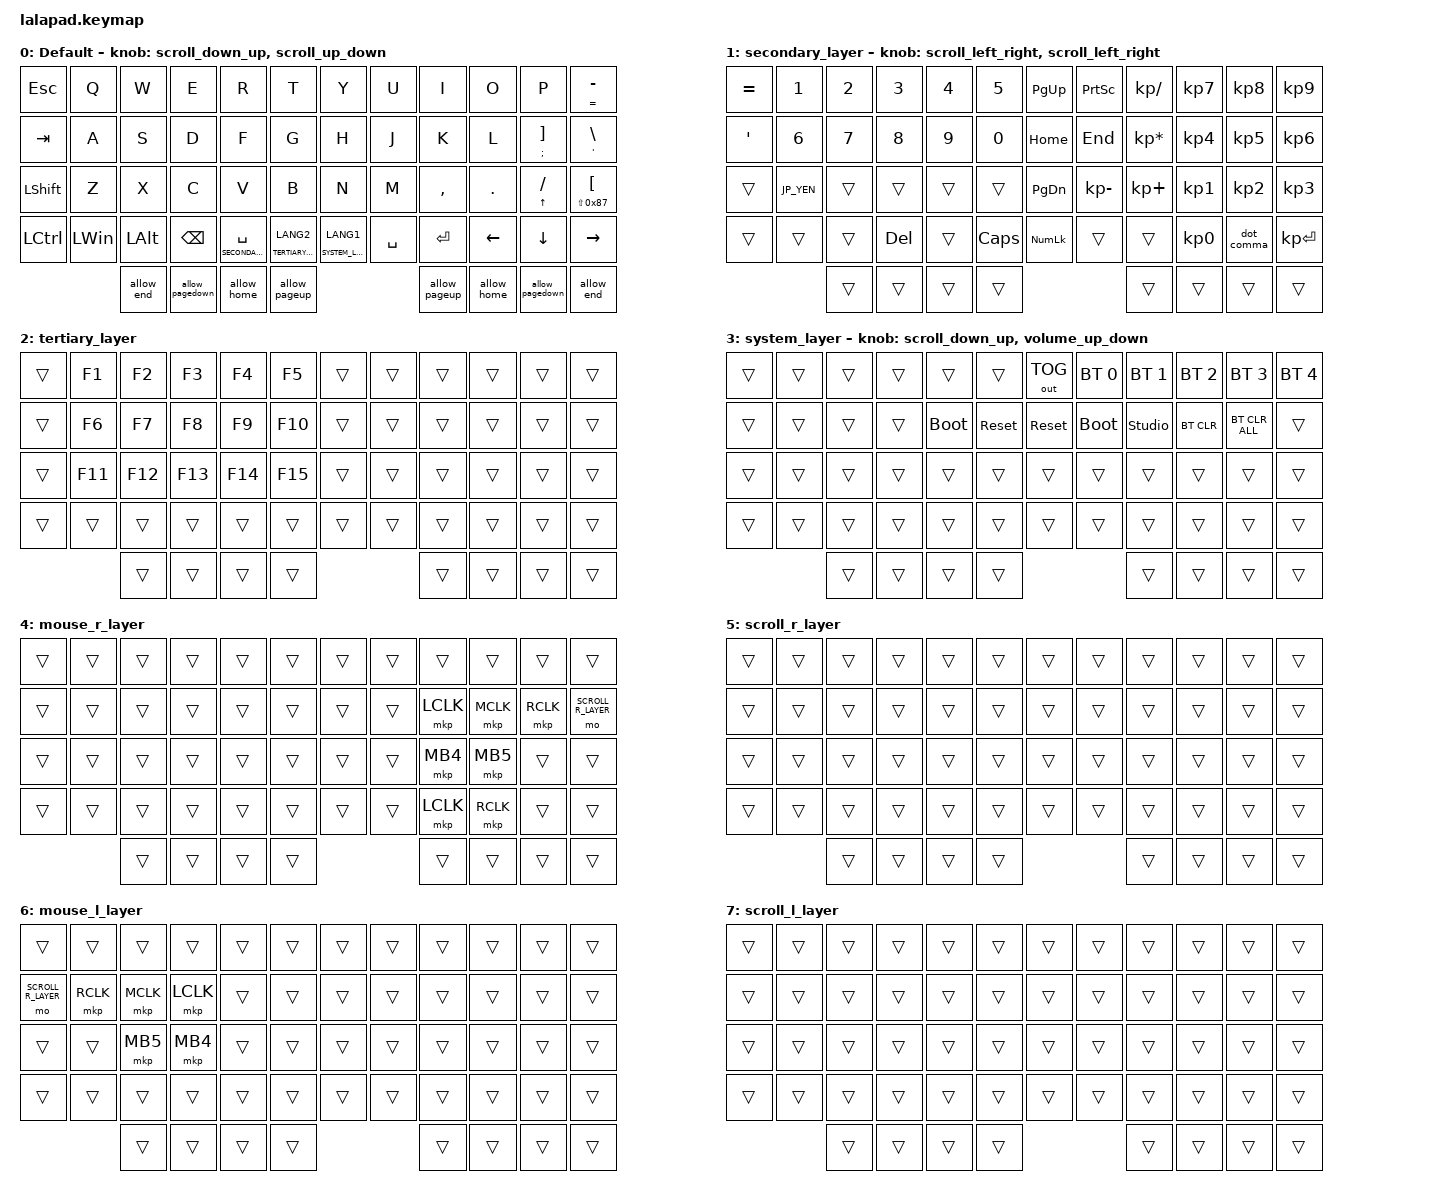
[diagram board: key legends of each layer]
#include <input/processors.dtsi>
#include <behaviors.dtsi>
#include <dt-bindings/zmk/bt.h>
#include <dt-bindings/zmk/keys.h>
#include <dt-bindings/zmk/outputs.h>
#include <dt-bindings/zmk/pointing.h>

#define DEFAULT_LAYER   0
#define SECONDARY_LAYER 1
#define TERTIARY_LAYER  2
#define SYSTEM_LAYER    3
#define MOUSE_R_LAYER   4
#define SCROLL_R_LAYER  5
#define MOUSE_L_LAYER   6
#define SCROLL_L_LAYER  7

// OS設定を日本語キーボードのまま使用するための変換定義
#define JP_DQUOTE       AT                // "
#define JP_AMPERSAND    CARET             // &
#define JP_QUOTE        AMPERSAND         // '
#define JP_EQUAL        UNDER             // =
#define JP_CARET        EQUAL             // ^
#define JP_YEN          0x89              // ¥
#define JP_PLUS         COLON             // +
#define JP_TILDE        PLUS              // ~
#define JP_PIPE         LS(0x89)          // |
#define JP_AT           LEFT_BRACKET      // @
#define JP_COLON        SINGLE_QUOTE      // :
#define JP_ASTERISK     DOUBLE_QUOTES     // *
#define JP_BACKQUOTE    LEFT_BRACE        // `
#define JP_UNDERSCORE   LS(0x87)          // _
#define JP_LBRACKET     RIGHT_BRACKET     // [
#define JP_RBRACKET     BACKSLASH         // ]
#define JP_LPAREN       ASTERISK          // (
#define JP_RPAREN       LEFT_PARENTHESIS  // )
#define JP_LBRACE       RIGHT_BRACE       // {
#define JP_RBRACE       PIPE              // }
#define JP_KANA         LANGUAGE_1        // かな
#define JP_EISU         LANGUAGE_2        // 英数
#define JP_HANZEN       GRAVE             // 半角/全角

// Mouse Scroll Value
#define ZMK_POINTING_DEFAULT_SCRL_VAL 100

// cirque trackpad input&layer control
&glidepoint_listener_R {
    input-processors =
        <&zip_xy_transform (INPUT_TRANSFORM_XY_SWAP | INPUT_TRANSFORM_X_INVERT | INPUT_TRANSFORM_Y_INVERT)>,
        <&zip_xy_scaler 3 2>,
        <&zip_temp_layer MOUSE_R_LAYER 500>;

    lowspeedmode {
        layers = <SECONDARY_LAYER>;
        input-processors =
            <&zip_xy_transform (INPUT_TRANSFORM_XY_SWAP | INPUT_TRANSFORM_X_INVERT | INPUT_TRANSFORM_Y_INVERT)>,
            <&zip_xy_scaler 3 5>,
            <&zip_temp_layer MOUSE_R_LAYER 500>;
    };

    scroller {
        layers = <SCROLL_R_LAYER>;
        input-processors =
            <&zip_xy_to_scroll_mapper>,
            <&zip_scroll_transform (INPUT_TRANSFORM_XY_SWAP | INPUT_TRANSFORM_Y_INVERT)>,
            <&zip_scroll_scaler 1 8>;
    };
};
&glidepoint_listener_L {
    input-processors =
        <&zip_xy_transform (INPUT_TRANSFORM_XY_SWAP | INPUT_TRANSFORM_X_INVERT | INPUT_TRANSFORM_Y_INVERT)>,
        <&zip_xy_scaler 3 2>,
        <&zip_temp_layer MOUSE_L_LAYER 500>;

    lowspeedmode {
        layers = <SECONDARY_LAYER>;
        input-processors =
            <&zip_xy_transform (INPUT_TRANSFORM_XY_SWAP | INPUT_TRANSFORM_X_INVERT | INPUT_TRANSFORM_Y_INVERT)>,
            <&zip_xy_scaler 3 4>,
            <&zip_temp_layer MOUSE_L_LAYER 500>;
    };

    scroller {
        layers = <SCROLL_L_LAYER>;
        input-processors =
            <&zip_xy_to_scroll_mapper>,
            <&zip_scroll_transform (INPUT_TRANSFORM_XY_SWAP | INPUT_TRANSFORM_Y_INVERT)>,
            <&zip_scroll_scaler 1 6>;
    };
};

/ {

    behaviors {
        // Encoder to Mouse Scroll
        scroll_up_down: sensor_scroll_up_down {
            compatible = "zmk,behavior-sensor-rotate";
            #sensor-binding-cells = <0>;
            bindings = <&msc SCRL_UP>, <&msc SCRL_DOWN>;

            tap-ms = <20>;
            label = "SCROLL_UP_DOWN";
        };

        scroll_down_up: sensor_scroll_down_up {
            compatible = "zmk,behavior-sensor-rotate";
            #sensor-binding-cells = <0>;
            bindings = <&msc SCRL_DOWN>, <&msc SCRL_UP>;

            tap-ms = <20>;
            label = "SCROLL_DOWN_UP";
        };

        scroll_left_right: sensor_scroll_left_right {
            compatible = "zmk,behavior-sensor-rotate";
            #sensor-binding-cells = <0>;
            bindings = <&msc SCRL_LEFT>, <&msc SCRL_RIGHT>;

            tap-ms = <20>;
            label = "SCROLL_LEFT_RIGHT";
        };

        scroll_right_left: sensor_scroll_right_left {
            compatible = "zmk,behavior-sensor-rotate";
            #sensor-binding-cells = <0>;
            bindings = <&msc SCRL_RIGHT>, <&msc SCRL_LEFT>;

            tap-ms = <20>;
            label = "SCROLL_RIGHT_LEFT";
        };

        volume_up_down: sensor_volume_up_down {
            compatible = "zmk,behavior-sensor-rotate";
            #sensor-binding-cells = <0>;
            bindings = <&kp C_VOLUME_UP>, <&kp C_VOLUME_DOWN>;

            tap-ms = <20>;
            label = "VOLUME_UP_DOWN";
        };

        dot_comma: dot_comma {
            compatible = "zmk,behavior-mod-morph";
            #binding-cells = <0>;
            bindings = <&kp KP_DOT>, <&kp COMMA>;

            mods = <(MOD_LSFT|MOD_RSFT)>;
            label = "DOT_COMMA";
        };
        pls_minus: pls_minus {
            compatible = "zmk,behavior-mod-morph";
            #binding-cells = <0>;
            bindings = <&kp PLUS>, <&kp MINUS>;

            mods = <(MOD_LSFT|MOD_RSFT)>;
            label = "PLS_MINUS";
        };
        allow_pageup: allow_pageup {
            compatible = "zmk,behavior-mod-morph";
            #binding-cells = <0>;
            bindings = <&kp UP>, <&kp PAGE_UP>;

            mods = <(MOD_LCTL|MOD_RCTL)>;
            label = "ALLOW_PAGEUP";
        };
        allow_pagedown: allow_pagedown {
            compatible = "zmk,behavior-mod-morph";
            #binding-cells = <0>;
            bindings = <&kp DOWN>, <&kp PAGE_DOWN>;

            mods = <(MOD_LCTL|MOD_RCTL)>;
            label = "ALLOW_PAGEDOWN";
        };
        allow_home: allow_home {
            compatible = "zmk,behavior-mod-morph";
            #binding-cells = <0>;
            bindings = <&kp LEFT>, <&kp HOME>;

            mods = <(MOD_LCTL|MOD_RCTL)>;
            label = "ALLOW_HOME";
        };
        allow_end: allow_end {
            compatible = "zmk,behavior-mod-morph";
            #binding-cells = <0>;
            bindings = <&kp RIGHT>, <&kp END>;

            mods = <(MOD_LCTL|MOD_RCTL)>;
            label = "ALLOW_END";
        };
        mt2: mod_tap2 {
            compatible = "zmk,behavior-hold-tap";
            #binding-cells = <2>;
            flavor = "tap-preferred";
            tapping-term-ms = <200>;
            quick-tap-ms = <200>;
            require-prior-idle-ms = <125>;
            bindings = <&kp>, <&kp>;
        };
    };

    keymap {
        compatible = "zmk,keymap";

        DEFAULT_LAYER {
            display-name = "Default";
            sensor-bindings = <&scroll_down_up>,<&scroll_up_down>;
            bindings = <
&kp ESC    &kp Q         &kp W         &kp E      &kp R        &kp T  &kp Y      &kp U    &kp I      &kp O       &kp P      &mt EQUAL MINUS
&kp TAB    &kp A         &kp S         &kp D      &kp F        &kp G  &kp H      &kp J    &kp K      &kp L       &mt2 SEMI JP_LBRACKET &mt2 SQT JP_RBRACKET
&kp LSHFT  &kp Z         &kp X         &kp C      &kp V        &kp B  &kp N      &kp M    &kp COMMA  &kp PERIOD  &mt2 UP SLASH  &mt JP_UNDERSCORE JP_AT
&kp LCTRL  &kp LEFT_WIN  &kp LEFT_ALT  &kp BACKSPACE  &lt SECONDARY_LAYER SPACE &lt TERTIARY_LAYER LANG2 &lt SYSTEM_LAYER LANG1 &kp SPACE &kp RET &kp LEFT &kp DOWN &kp RIGHT
                         &allow_end &allow_pagedown &allow_home &allow_pageup    &allow_pageup &allow_home &allow_pagedown &allow_end
            >;
        };

        SECONDARY_LAYER {
            display-name = "secondary_layer";
            sensor-bindings = <&scroll_left_right>,<&scroll_left_right>;
            bindings = <
&kp EQUAL     &kp NUMBER_1    &kp NUMBER_2  &kp NUMBER_3  &kp NUMBER_4   &kp NUMBER_5      &kp PAGE_UP     &kp PRINTSCREEN  &kp KP_SLASH     &kp KP_NUMBER_7  &kp KP_NUMBER_8  &kp KP_NUMBER_9
&kp JP_COLON  &kp NUMBER_6    &kp NUMBER_7  &kp NUMBER_8  &kp NUMBER_9   &kp NUMBER_0      &kp HOME        &kp END          &kp KP_ASTERISK  &kp KP_NUMBER_4  &kp KP_NUMBER_5  &kp KP_NUMBER_6
&trans     &kp JP_YEN         &trans            &trans            &trans            &trans         &kp PAGE_DOWN   &kp KP_MINUS     &kp KP_PLUS      &kp KP_NUMBER_1  &kp KP_NUMBER_2  &kp KP_NUMBER_3
&trans     &trans              &trans            &kp DELETE        &trans            &kp CAPS           &kp KP_NUM  &trans  &trans        &kp KP_NUMBER_0  &dot_comma       &kp KP_ENTER
&trans        &trans              &trans            &trans                                                    &trans        &trans           &trans           &trans
            >;
        };

        TERTIARY_LAYER {
            display-name = "tertiary_layer";
            bindings = <
&trans  &kp F1  &kp F2  &kp F3  &kp F4  &kp F5        &trans  &trans  &trans  &trans  &trans  &trans
&trans  &kp F6  &kp F7  &kp F8  &kp F9  &kp F10       &trans  &trans  &trans  &trans  &trans  &trans
&trans  &kp F11 &kp F12 &kp F13 &kp F14 &kp F15       &trans  &trans  &trans  &trans  &trans  &trans
&trans  &trans  &trans  &trans  &trans  &trans        &trans  &trans  &trans  &trans  &trans  &trans
&trans  &trans  &trans  &trans                                  &trans  &trans  &trans  &trans
            >;
        };

        SYSTEM_LAYER {
            display-name = "system_layer";
            sensor-bindings = <&scroll_down_up>,<&volume_up_down>;
            bindings = <
&trans  &trans  &trans  &trans  &trans       &trans            &out OUT_TOG &bt BT_SEL 0 &bt BT_SEL 1   &bt BT_SEL 2 &bt BT_SEL 3   &bt BT_SEL 4
&trans  &trans  &trans  &trans  &bootloader  &sys_reset        &sys_reset   &bootloader  &studio_unlock &bt BT_CLR   &bt BT_CLR_ALL &trans
&trans  &trans  &trans  &trans  &trans       &trans            &trans       &trans       &trans         &trans       &trans         &trans
&trans  &trans  &trans  &trans  &trans       &trans            &trans       &trans       &trans         &trans       &trans         &trans
&trans  &trans  &trans  &trans                                  &trans  &trans  &trans  &trans
            >;
        };

        MOUSE_R_LAYER {
            display-name = "mouse_r_layer";
            bindings = <
&trans  &trans  &trans  &trans  &trans  &trans        &trans   &trans   &trans     &trans     &trans     &trans
&trans  &trans  &trans  &trans  &trans  &trans        &trans   &trans   &mkp LCLK  &mkp MCLK  &mkp RCLK  &mo SCROLL_R_LAYER
&trans  &trans  &trans  &trans  &trans  &trans        &trans   &trans   &mkp MB4   &mkp MB5   &trans     &trans
&trans  &trans  &trans  &trans  &trans  &trans        &trans   &trans   &mkp LCLK  &mkp RCLK  &trans     &trans
&trans  &trans  &trans  &trans                                    &trans     &trans     &trans     &trans
            >;
        };

        SCROLL_R_LAYER {
            display-name = "scroll_r_layer";
            bindings = <
&trans  &trans  &trans  &trans  &trans  &trans        &trans  &trans  &trans  &trans  &trans  &trans
&trans  &trans  &trans  &trans  &trans  &trans        &trans  &trans  &trans  &trans  &trans  &trans
&trans  &trans  &trans  &trans  &trans  &trans        &trans  &trans  &trans  &trans  &trans  &trans
&trans  &trans  &trans  &trans  &trans  &trans        &trans  &trans  &trans  &trans  &trans  &trans
&trans  &trans  &trans  &trans                                  &trans  &trans  &trans  &trans
            >;
        };

        MOUSE_L_LAYER {
            display-name = "mouse_l_layer";
            bindings = <
&trans  &trans  &trans  &trans  &trans  &trans                            &trans  &trans  &trans  &trans  &trans  &trans
&mo SCROLL_R_LAYER  &mkp RCLK  &mkp MCLK  &mkp LCLK  &trans  &trans       &trans  &trans  &trans  &trans  &trans  &trans
&trans  &trans  &mkp MB5  &mkp MB4  &trans  &trans                        &trans  &trans  &trans  &trans  &trans  &trans
&trans  &trans  &trans  &trans  &trans  &trans                            &trans  &trans  &trans  &trans  &trans  &trans
&trans  &trans  &trans  &trans                                                       &trans  &trans  &trans  &trans
            >;
        };

        SCROLL_L_LAYER {
            display-name = "scroll_l_layer";
            bindings = <
&trans  &trans  &trans  &trans  &trans  &trans        &trans  &trans  &trans  &trans  &trans  &trans
&trans  &trans  &trans  &trans  &trans  &trans        &trans  &trans  &trans  &trans  &trans  &trans
&trans  &trans  &trans  &trans  &trans  &trans        &trans  &trans  &trans  &trans  &trans  &trans
&trans  &trans  &trans  &trans  &trans  &trans        &trans  &trans  &trans  &trans  &trans  &trans
&trans  &trans  &trans  &trans                                  &trans  &trans  &trans  &trans
            >;
        };
    };
    
};
